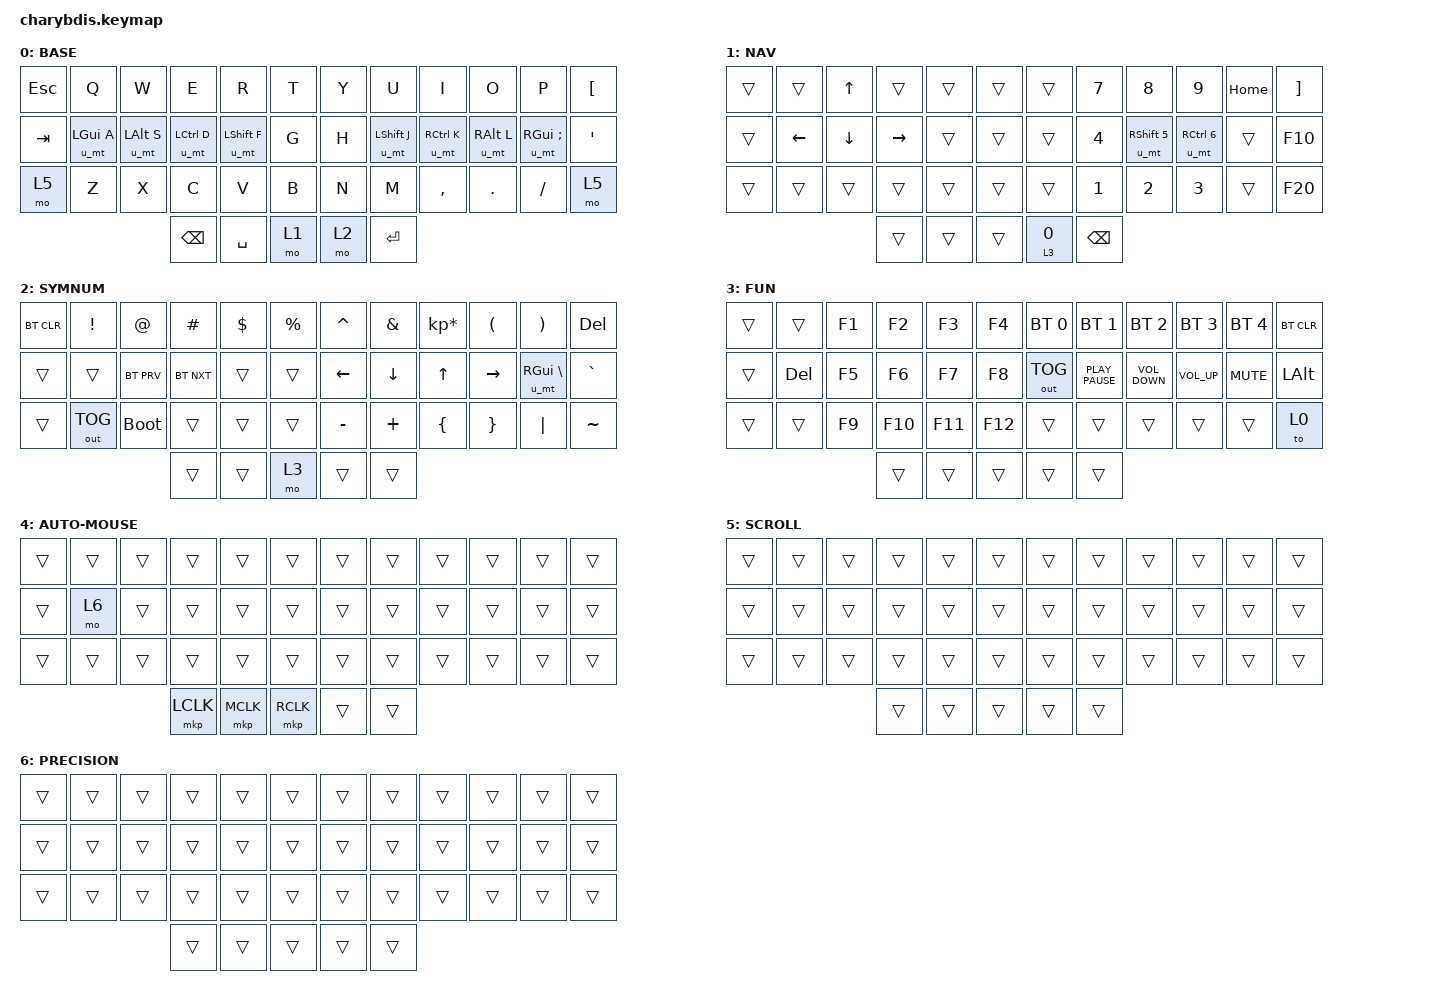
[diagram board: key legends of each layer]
#include <behaviors.dtsi>
#include <dt-bindings/zmk/bt.h>
#include <dt-bindings/zmk/keys.h>
#include <dt-bindings/zmk/mouse.h>
#include <dt-bindings/zmk/outputs.h>
#include <behaviors/mouse_keys.dtsi>
#include <dt-bindings/zmk/ext_power.h>
#include "macros.dtsi"
#include "behaviors.dtsi"
#include "combos.dtsi"

/ {
    /* input config for mouse move mode */
    trackball_listener {
        compatible = "zmk,input-behavior-listener";
        device = <&vtrackball>;
        layers = <0 1 2 3 4>;
        evt-type = <INPUT_EV_REL>;
        x-input-code = <INPUT_REL_X>;
        y-input-code = <INPUT_REL_Y>;
        scale-multiplier = <4>;
        scale-divisor = <5>;
        bindings = <&ib_toggle_layer 4>;
    };

    /* input config for snipe mode */
    trackball_snipe_listener {
        compatible = "zmk,input-behavior-listener";   
        device = <&vtrackball>;
        layers = <6>;
        evt-type = <INPUT_EV_REL>;
        x-input-code = <INPUT_REL_X>;
        y-input-code = <INPUT_REL_Y>;
        scale-multiplier = <1>;
        scale-divisor = <6>;
    };

    /* input config for mouse scroll mode */
    trackball_scroll_listener {
        compatible = "zmk,input-behavior-listener";
        device = <&vtrackball>;
        layers = <5>;
        evt-type = <INPUT_EV_REL>;            
        x-input-code = <INPUT_REL_MISC>;
        y-input-code = <INPUT_REL_WHEEL>;
        y-invert;
        bindings = <&ib_wheel_scaler 1 14>;
    };

    /* define a resolution down scaler only for INPUT_REL_WHEEL */
    ib_wheel_scaler: ib_wheel_scaler {
        compatible = "zmk,input-behavior-scaler";
        #binding-cells = <2>;
        evt-type = <INPUT_EV_REL>;
        input-code = <INPUT_REL_WHEEL>;
    };

    /* adjust cooldown waiting period for mouse key layer after activated */
    ib_toggle_layer: ib_toggle_layer {
        compatible = "zmk,input-behavior-tog-layer";
        #binding-cells = <1>;
        time-to-live-ms = <750>;
    };
// ╭──────┬──────┬──────┬──────┬──────┬──────╮  ╭──────┬──────┬──────┬──────┬──────┬──────╮
//    00     01     02     03    04      05        06     07     08     09     10     11
// ├──────┼──────┼──────┼──────┼──────┼──────┤  ├──────┼──────┼──────┼──────┼──────┼──────┤
//    12     13     14     15    16      17        18     19     20     21     22     23
// ├──────┼──────┼──────┼──────┼──────┼──────┤  ├──────┼──────┼──────┼──────┼──────┼──────┤
//    24     25     26     27    28      29        30     31     32     33     34     35
// ╰──────┴──────┴──────┼──────┼──────┼──────┤  ├──────┼──────┼──────┴──────┴──────┴──────╯
//                         36     37     38        39     40
//                      ╰──────┴──────┴──────╯  ╰──────┴──────╯
// #define BASE    0
// #define NUM     1
// #define NAV     2
// #define SYM     3
// #define GAME    4
// #define PHOTOS  5
// #define EXTRAS  6
// #define MOUSE   7
// #define SLOW    8
// #define SCROLL  9

    keymap {
        compatible = "zmk,keymap";

        BASE {
            bindings = <
&kp ESC  &kp Q             &kp W             &kp E          &kp R               &kp T    &kp Y            &kp U               &kp I          &kp O              &kp P                 &kp LEFT_BRACKET
&kp TAB  &u_mt LEFT_GUI A  &u_mt LEFT_ALT S  &u_mt LCTRL D  &u_mt LEFT_SHIFT F  &kp G    &kp H            &u_mt LEFT_SHIFT J  &u_mt RCTRL K  &u_mt RIGHT_ALT L  &u_mt RIGHT_GUI SEMI  &kp APOS
&mo 5    &kp Z             &kp X             &kp C          &kp V               &kp B    &kp N            &kp M               &kp COMMA      &kp DOT            &kp FSLH              &mo 5
                                             &kp BACKSPACE  &kp SPACE           &mo 1    &mo 2            &kp RET
            >;
        };

        NAV {
            bindings = <
&trans  &trans    &kp UP    &trans     &trans  &trans    &trans &kp N7           &kp N8                &kp N9          &kp HOME  &kp RIGHT_BRACKET
&trans  &kp LEFT  &kp DOWN  &kp RIGHT  &trans  &trans    &trans &kp N4           &u_mt RIGHT_SHIFT N5  &u_mt RCTRL N6  &trans    &kp F10
&trans  &trans    &trans    &trans     &trans  &trans    &trans &kp N1           &kp N2                &kp N3          &trans    &kp F20
                            &trans     &trans  &trans    &lt 3 N0  &kp BACKSPACE
            >;
        };

        SYMNUM {
            bindings = <
&bt BT_CLR  &kp EXCL      &kp AT       &kp HASH    &kp DLLR  &kp PRCNT    &kp CARET  &kp AMPS                 &kp KP_MULTIPLY   &kp LPAR              &kp RPAR              &kp DEL
&trans      &trans        &bt BT_PRV   &bt BT_NXT  &trans    &trans       &kp LEFT   &kp DOWN                 &kp UP            &kp RIGHT             &u_mt RIGHT_GUI BSLH  &kp GRAVE
&trans      &out OUT_TOG  &bootloader  &trans      &trans    &trans       &kp MINUS  &kp PLUS                 &kp LBRC          &kp RBRC              &kp PIPE              &kp TILDE
                                       &trans      &trans    &mo 3        &trans     &trans
            >;
        };

        FUN {
            bindings = <
&trans  &trans   &kp F1  &kp F2   &kp F3   &kp F4     &bt BT_SEL 0  &bt BT_SEL 1      &bt BT_SEL 2       &bt BT_SEL 3     &bt BT_SEL 4  &bt BT_CLR
&trans  &kp DEL  &kp F5  &kp F6   &kp F7   &kp F8     &out OUT_TOG  &kp K_PLAY_PAUSE  &kp C_VOLUME_DOWN  &kp C_VOLUME_UP  &kp C_MUTE    &kp LALT
&trans  &trans   &kp F9  &kp F10  &kp F11  &kp F12    &trans        &trans            &trans             &trans           &trans        &to 0
                         &trans   &trans   &trans     &trans        &trans
            >;
        };

        AUTO-MOUSE {
            bindings = <
&trans  &trans  &trans  &trans     &trans     &trans       &trans  &trans  &trans  &trans  &trans  &trans
&trans  &mo 6   &trans  &trans     &trans     &trans       &trans  &trans  &trans  &trans  &trans  &trans
&trans  &trans  &trans  &trans     &trans     &trans       &trans  &trans  &trans  &trans  &trans  &trans
                        &mkp LCLK  &mkp MCLK  &mkp RCLK    &trans  &trans
            >;
        };

        SCROLL {
            bindings = <
&trans  &trans  &trans  &trans  &trans  &trans    &trans  &trans  &trans  &trans  &trans  &trans
&trans  &trans  &trans  &trans  &trans  &trans    &trans  &trans  &trans  &trans  &trans  &trans
&trans  &trans  &trans  &trans  &trans  &trans    &trans  &trans  &trans  &trans  &trans  &trans
                        &trans  &trans  &trans    &trans  &trans
            >;
        };

        PRECISION {
            bindings = <
&trans  &trans  &trans  &trans  &trans  &trans    &trans  &trans  &trans  &trans  &trans  &trans
&trans  &trans  &trans  &trans  &trans  &trans    &trans  &trans  &trans  &trans  &trans  &trans
&trans  &trans  &trans  &trans  &trans  &trans    &trans  &trans  &trans  &trans  &trans  &trans
                        &trans  &trans  &trans    &trans  &trans
            >;
        };

    };
};
